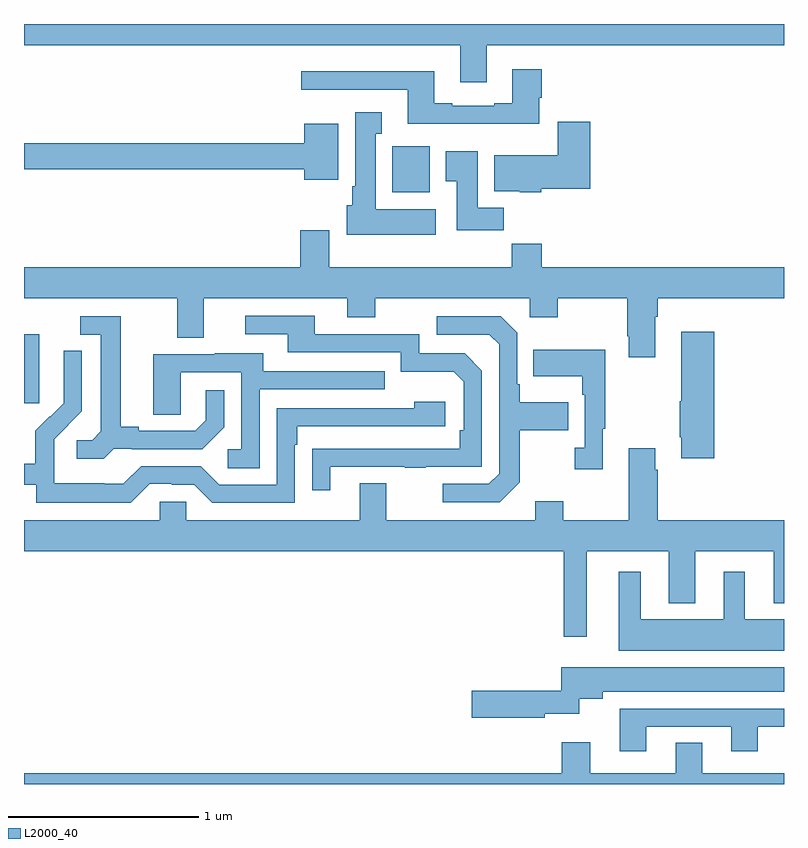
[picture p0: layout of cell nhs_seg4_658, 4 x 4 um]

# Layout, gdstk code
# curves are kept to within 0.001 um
import gdstk
lib = gdstk.Library(unit=1e-6, precision=1e-09)
def R(c, l, rs):  # rectangles x0, y0, x1, y1
    for r in rs: c.add(gdstk.rectangle(r[:2], r[2:], *l))
def P(c, l, *ps):  # polygons
    for p in ps: c.add(gdstk.Polygon(p, *l))
L2000_40 = (2000, 40)

nhs_seg4_658 = lib.new_cell('nhs_seg4_658')
R(nhs_seg4_658, L2000_40, [(143,826.905,143.08,827.266), (144.938,828.014,145.135,828.256)])
P(nhs_seg4_658, L2000_40, [(145.435,828.788),(147,828.788),(147,828.9),(143,828.9),(143,828.788),(145.295,828.788),(145.295,828.594),(145.435,828.594)],
  [(145.711,828.513),(145.724,828.513),(145.724,828.661),(145.571,828.661),(145.571,828.484),(145.475,828.484),(145.475,828.471),(145.255,828.471),(145.255,828.484),(145.159,828.484),(145.159,828.652),(144.459,828.652),(144.459,828.555),(145.019,828.555),(145.019,828.374),(145.711,828.374)],
  [(145.168,827.926),(144.85,827.926),(144.85,828.323),(144.883,828.323),(144.883,828.436),(144.743,828.436),(144.743,828.046),(144.728,828.046),(144.728,827.946),(144.698,827.946),(144.698,827.792),(145.168,827.792)],
  [(145.722,828.032),(145.979,828.032),(145.979,828.385),(145.808,828.385),(145.808,828.208),(145.475,828.208),(145.475,828.02),(145.608,828.02),(145.608,828.014),(145.722,828.014)],
  [(144.655,828.376),(144.476,828.376),(144.476,828.272),(143,828.272),(143,828.136),(144.476,828.136),(144.476,828.08),(144.655,828.08)],
  [(145.526,827.932),(145.387,827.932),(145.387,828.229),(145.22,828.229),(145.22,828.073),(145.277,828.073),(145.277,827.814),(145.526,827.814)],
  [(146.323,827.36),(146.336,827.36),(146.336,827.456),(147,827.456),(147,827.62),(145.724,827.62),(145.724,827.744),(145.567,827.744),(145.567,827.62),(144.607,827.62),(144.607,827.815),(144.455,827.815),(144.455,827.62),(143,827.62),(143,827.456),(143.807,827.456),(143.807,827.248),(143.947,827.248),(143.947,827.456),(144.701,827.456),(144.701,827.357),(144.849,827.357),(144.849,827.456),(145.662,827.456),(145.662,827.357),(145.809,827.357),(145.809,827.456),(146.176,827.456),(146.176,827.257),(146.183,827.257),(146.183,827.145),(146.323,827.145)],
  [(144.613,826.569),(145.003,826.569),(145.003,826.564),(145.115,826.564),(145.115,826.569),(145.41,826.569),(145.41,827.076),(145.32,827.166),(145.08,827.166),(145.08,827.268),(144.529,827.268),(144.529,827.364),(144.165,827.364),(144.165,827.268),(144.389,827.268),(144.389,827.172),(144.984,827.172),(144.984,827.069),(145.261,827.069),(145.314,827.016),(145.314,826.762),(145.294,826.762),(145.294,826.665),(144.517,826.664),(144.517,826.446),(144.613,826.446)],
  [(145.609,826.489),(145.609,826.762),(145.865,826.762),(145.865,826.909),(145.609,826.909),(145.609,827.005),(145.596,827.005),(145.596,827.274),(145.509,827.361),(145.173,827.361),(145.173,827.265),(145.449,827.265),(145.5,827.214),(145.5,826.533),(145.446,826.479),(145.203,826.479),(145.203,826.383),(145.503,826.383)],
  [(143.472,826.665),(143.566,826.665),(143.566,826.662),(143.938,826.662),(144.054,826.778),(144.054,826.972),(143.957,826.972),(143.957,826.815),(143.9,826.758),(143.605,826.758),(143.605,826.781),(143.509,826.781),(143.509,827.361),(143.295,827.361),(143.295,827.265),(143.405,827.265),(143.405,826.757),(143.358,826.71),(143.277,826.71),(143.277,826.613),(143.42,826.613)],
  [(146.632,827.281),(146.459,827.281),(146.459,826.915),(146.452,826.915),(146.452,826.726),(146.459,826.726),(146.459,826.614),(146.632,826.614)],
  [(146.047,826.769),(146.059,826.769),(146.059,827.185),(145.681,827.185),(145.681,827.045),(145.938,827.045),(145.938,826.949),(145.95,826.949),(145.95,826.67),(145.899,826.67),(145.899,826.557),(146.047,826.557)],
  [(143.661,826.479),(143.777,826.479),(143.777,826.476),(143.895,826.476),(143.991,826.38),(144.426,826.38),(144.426,826.685),(144.439,826.685),(144.439,826.782),(145.216,826.782),(145.216,826.912),(145.055,826.912),(145.055,826.878),(144.33,826.878),(144.33,826.476),(144.027,826.476),(143.931,826.572),(143.616,826.572),(143.523,826.479),(143.423,826.479),(143.423,826.483),(143.16,826.483),(143.16,826.617),(143.158,826.617),(143.158,826.714),(143.304,826.862),(143.304,827.18),(143.208,827.18),(143.208,827.026),(143.21,827.026),(143.21,826.904),(143.139,826.833),(143.136,826.836),(143.059,826.759),(143.059,826.585),(143,826.585),(143,826.476),(143.064,826.476),(143.064,826.379),(143.561,826.379)],
  [(144.24,826.977),(144.899,826.977),(144.899,827.073),(144.259,827.073),(144.259,827.167),(144.005,827.167),(144.005,827.163),(143.681,827.163),(143.681,826.843),(143.826,826.843),(143.826,827.067),(144.144,827.067),(144.144,826.662),(144.072,826.662),(144.072,826.561),(144.24,826.561)],
  [(145.963,826.124),(146.393,826.124),(146.393,825.851),(146.533,825.851),(146.533,826.124),(146.945,826.124),(146.945,825.851),(147,825.851),(147,826.288),(146.336,826.288),(146.336,826.553),(146.323,826.553),(146.323,826.666),(146.183,826.666),(146.183,826.288),(145.839,826.288),(145.839,826.387),(145.691,826.387),(145.691,826.288),(144.907,826.288),(144.907,826.483),(144.767,826.483),(144.767,826.288),(143.853,826.288),(143.853,826.386),(143.715,826.386),(143.715,826.288),(143,826.288),(143,826.124),(145.842,826.124),(145.842,825.675),(145.963,825.675)],
  [(147,825.766),(146.794,825.766),(146.794,826.018),(146.684,826.018),(146.684,825.766),(146.245,825.766),(146.245,826.018),(146.129,826.018),(146.129,825.602),(147,825.602)],
  [(145.74,825.269),(145.923,825.269),(145.923,825.35),(146.047,825.35),(146.047,825.386),(147,825.386),(147,825.514),(145.827,825.514),(145.827,825.392),(145.356,825.392),(145.356,825.25),(145.74,825.25)],
  [(146.275,825.201),(146.723,825.201),(146.723,825.072),(146.863,825.072),(146.863,825.201),(147,825.201),(147,825.297),(146.135,825.297),(146.135,825.072),(146.275,825.072)],
  [(147,824.956),(146.569,824.956),(146.569,825.116),(146.429,825.116),(146.429,824.956),(145.981,824.956),(145.981,825.121),(145.829,825.121),(145.829,824.956),(143,824.956),(143,824.9),(147,824.9)])

lib.write_gds('nhs_seg4_658.gds')
